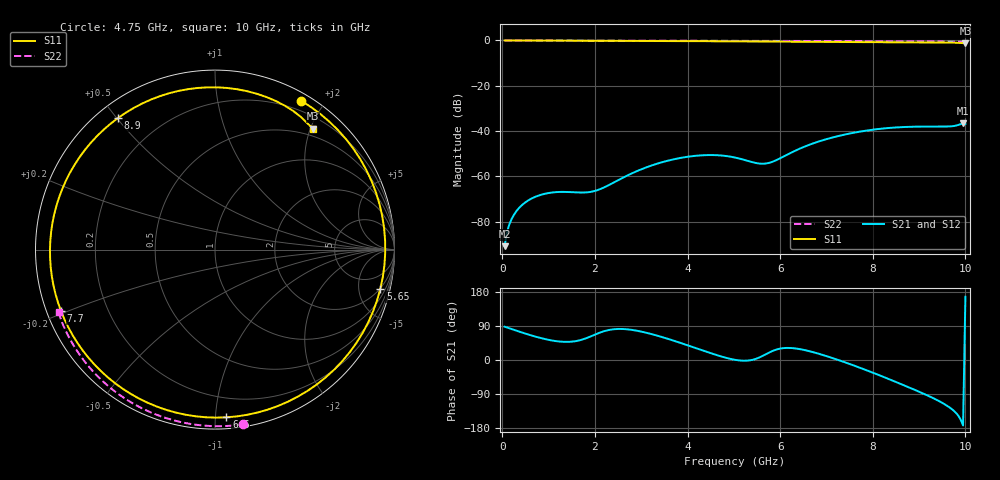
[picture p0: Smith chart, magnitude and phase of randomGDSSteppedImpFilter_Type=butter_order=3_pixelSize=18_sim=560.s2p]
! freq	dB(S11)	phase(S11)	dB(S12)	phase(S12)
!  dB(S21)	phase(S21)	dB(S22)	phase(S22)
!S-par simulation data
#  GHz  S  DB  R 50
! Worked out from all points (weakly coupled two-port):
!   200 points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, 50 MHz to 10 GHz, reference 50 ohm
!   highest |S21| = -36.65 dB at 9.95 GHz (marker M1); lowest = -90.8 dB at 50 MHz (marker M2)
!   lowest |S11| = -1.2 dB at 10 GHz (marker M3), VSWR 14.07, Z = 18.8 + j102 ohm
!   |S11| at or under -10 dB: nowhere
!   |S22| runs from -0.6 to 0.0 dB; largest |S21 - S12| = 0
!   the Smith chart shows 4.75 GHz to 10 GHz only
!   S11 on the Smith chart (normalised r, x): 4.75 GHz: 0.09, +1.73; 5.65 GHz: 1.93, -8.12; 6.6 GHz: 0.07, -1.07; 7.7 GHz: 0.04, -0.19; 8.9 GHz: 0.06, +0.50; 10 GHz: 0.38, +2.04
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0.05  -0.00 -3.4  -90.84 87.9  -90.84 87.9  -0.00 -0.9
0.15  -0.01 -10.0  -81.34 83.7  -81.34 83.7  -0.00 -2.7
0.55  -0.05 -36.3  -70.77 67.7  -70.77 67.7  -0.01 -9.9
0.95  -0.08 -61.8  -67.57 54.5  -67.57 54.5  -0.02 -17.1
1.35  -0.11 -86.5  -66.88 47.9  -66.88 47.9  -0.03 -24.2
1.75  -0.13 -110.1  -67.15 54.8  -67.15 54.8  -0.04 -31.3
2.6  -0.18 -158.7  -60.66 81.8  -60.66 81.8  -0.06 -46.0
3.4  -0.23 154.4  -54.06 62.4  -54.06 62.4  -0.08 -59.4
4.15  -0.30 105.0  -50.98 32.6  -50.98 32.6  -0.10 -71.6
4.75  -0.37 60.0  -50.84 8.5  -50.84 8.5  -0.12 -81.0
5.05  -0.41 35.9  -51.82 -0.1  -51.82 -0.1  -0.13 -85.7
5.65  -0.48 -13.3  -54.43 12.6  -54.43 12.6  -0.16 -94.8
6.15  -0.52 -52.9  -50.46 31.9  -50.46 31.9  -0.18 -102.3
6.6  -0.57 -86.1  -46.29 24.2  -46.29 24.2  -0.21 -108.9
6.7  -0.58 -93.2  -45.53 21.1  -45.53 21.1  -0.22 -110.4
7.15  -0.63 -123.4  -42.74 4.3  -42.74 4.3  -0.25 -116.9
7.7  -0.69 -158.3  -40.34 -19.4  -40.34 -19.4  -0.29 -124.8
8.35  -0.76 161.4  -38.64 -50.5  -38.64 -50.5  -0.35 -134.2
8.9  -0.81 126.3  -38.08 -78.4  -38.08 -78.4  -0.40 -142.1
9.45  -0.88 89.2  -38.04 -109.7  -38.04 -109.7  -0.46 -150.1
9.95  -1.19 53.8  -36.65 -172.7  -36.65 -172.7  -0.55 -157.6
10  -1.24 51.0  -36.88 166.8  -36.88 166.8  -0.57 -158.4
